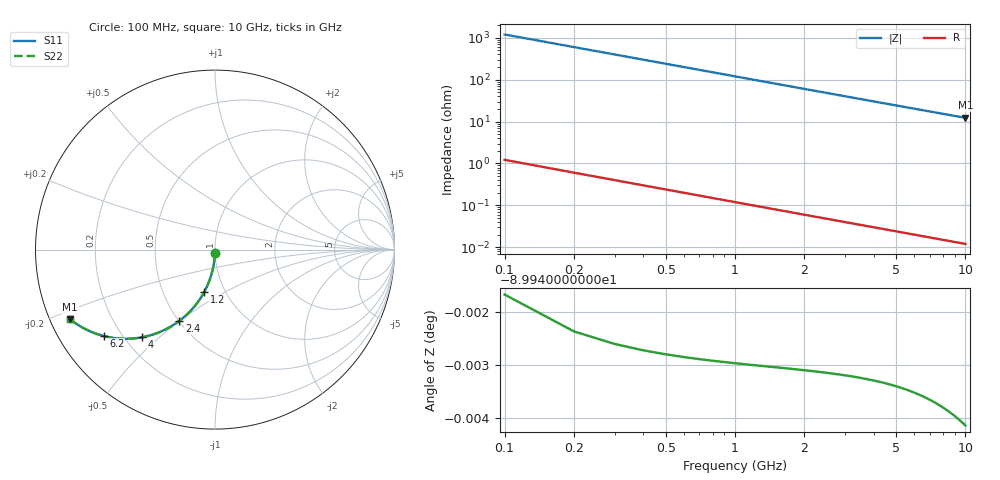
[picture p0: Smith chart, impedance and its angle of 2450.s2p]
# Hz S RI R 50.00
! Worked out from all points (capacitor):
!   100 points, 100 MHz to 10 GHz, reference 50 ohm
!   read as one part in shunt: C = 1.32 pF near 100 MHz
!   lowest |Z| = 12.3 ohm at 10 GHz (marker M1)
!   S11 on the Smith chart (normalised r, x): 100 MHz: 1.00, -0.04; 1.2 GHz: 0.80, -0.40; 2.4 GHz: 0.50, -0.50; 4 GHz: 0.27, -0.44; 6.2 GHz: 0.13, -0.34; 10 GHz: 0.06, -0.23
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1e8  -0.000445 -0.0207  0.9995 -0.0208  0.9995 -0.0208  -0.000445 -0.0207
2e8  -0.00176 -0.0414  0.9982 -0.0416  0.9982 -0.0416  -0.00176 -0.0414
3e8  -0.00393 -0.062  0.9961 -0.0623  0.9961 -0.0623  -0.00393 -0.062
4e8  -0.00695 -0.0824  0.993 -0.0828  0.993 -0.0828  -0.00695 -0.0824
5e8  -0.0108 -0.1026  0.9892 -0.1031  0.9892 -0.1031  -0.0108 -0.1026
6e8  -0.0154 -0.1225  0.9845 -0.1231  0.9845 -0.1231  -0.0154 -0.1225
7e8  -0.0209 -0.1421  0.9791 -0.1428  0.9791 -0.1428  -0.0209 -0.1421
9e8  -0.034 -0.1801  0.966 -0.1811  0.966 -0.1811  -0.034 -0.1801
1.2e9  -0.0587 -0.2339  0.9413 -0.2352  0.9413 -0.2352  -0.0587 -0.2339
1.5e9  -0.0886 -0.2828  0.9114 -0.2845  0.9114 -0.2845  -0.0886 -0.2828
1.8e9  -0.1226 -0.3265  0.8774 -0.3285  0.8774 -0.3285  -0.1226 -0.3265
2.1e9  -0.1595 -0.3645  0.8404 -0.3669  0.8404 -0.3669  -0.1595 -0.3645
2.4e9  -0.1984 -0.397  0.8016 -0.3997  0.8016 -0.3997  -0.1984 -0.397
2.9e9  -0.265 -0.4392  0.735 -0.4425  0.735 -0.4425  -0.265 -0.4392
3.4e9  -0.3308 -0.4681  0.6692 -0.4719  0.6692 -0.4719  -0.3308 -0.4681
4e9  -0.4056 -0.4883  0.5944 -0.4928  0.5944 -0.4928  -0.4056 -0.4883
5.1e9  -0.5249 -0.496  0.4751 -0.5018  0.4751 -0.5018  -0.5249 -0.496
6.2e9  -0.6194 -0.4815  0.3806 -0.4886  0.3806 -0.4886  -0.6194 -0.4815
6.7e9  -0.6549 -0.471  0.345 -0.4787  0.345 -0.4787  -0.6549 -0.471
7.5e9  -0.7036 -0.4518  0.2963 -0.4605  0.2963 -0.4605  -0.7036 -0.4518
8.4e9  -0.7483 -0.4286  0.2516 -0.4383  0.2516 -0.4383  -0.7483 -0.4286
1e10  -0.8079 -0.3876  0.192 -0.3992  0.192 -0.3992  -0.8079 -0.3876
